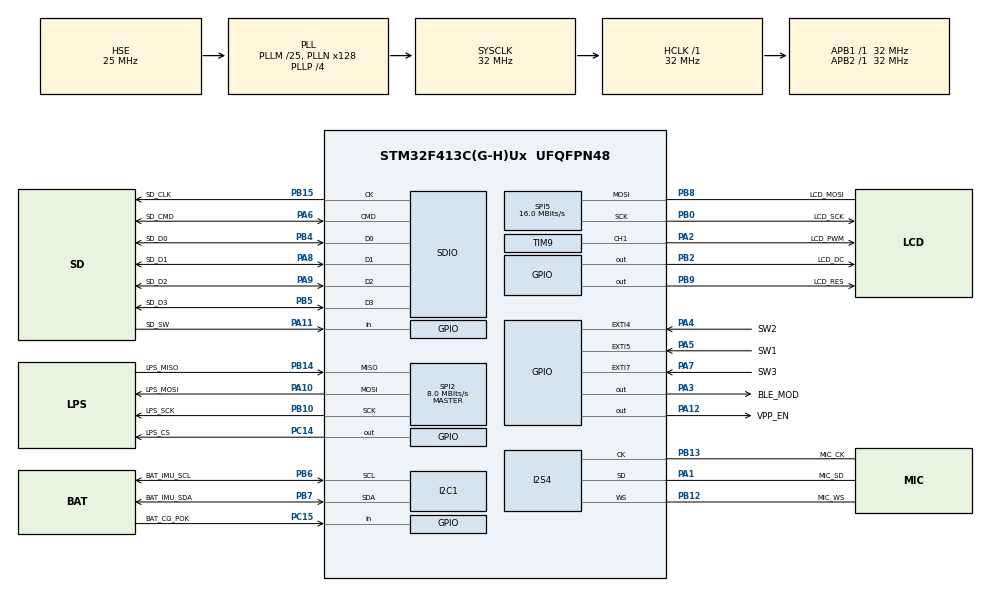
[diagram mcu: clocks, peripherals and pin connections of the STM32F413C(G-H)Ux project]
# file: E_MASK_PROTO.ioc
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Dma.Request0=SPI5_RX
Dma.Request1=SPI5_TX
Dma.Request2=SPI2_RX
Dma.Request3=SPI2_TX
Dma.Request4=SPI4_RX
Dma.Request5=SDIO_TX
Dma.Request6=SDIO_RX
Dma.SDIO_RX.6.Direction=DMA_PERIPH_TO_MEMORY
Dma.SDIO_RX.6.FIFOMode=DMA_FIFOMODE_ENABLE
Dma.SDIO_RX.6.FIFOThreshold=DMA_FIFO_THRESHOLD_FULL
Dma.SDIO_RX.6.Instance=DMA2_Stream3
Dma.SDIO_RX.6.MemBurst=DMA_MBURST_INC4
Dma.SDIO_RX.6.MemDataAlignment=DMA_MDATAALIGN_WORD
Dma.SDIO_RX.6.MemInc=DMA_MINC_ENABLE
Dma.SDIO_RX.6.Mode=DMA_PFCTRL
Dma.SDIO_RX.6.PeriphBurst=DMA_PBURST_INC4
Dma.SDIO_RX.6.PeriphDataAlignment=DMA_PDATAALIGN_WORD
Dma.SDIO_RX.6.PeriphInc=DMA_PINC_DISABLE
Dma.SDIO_RX.6.Priority=DMA_PRIORITY_VERY_HIGH
Dma.SDIO_TX.5.Direction=DMA_MEMORY_TO_PERIPH
Dma.SDIO_TX.5.FIFOMode=DMA_FIFOMODE_ENABLE
Dma.SDIO_TX.5.FIFOThreshold=DMA_FIFO_THRESHOLD_FULL
Dma.SDIO_TX.5.Instance=DMA2_Stream6
Dma.SDIO_TX.5.MemBurst=DMA_MBURST_INC4
Dma.SDIO_TX.5.MemDataAlignment=DMA_MDATAALIGN_WORD
Dma.SDIO_TX.5.MemInc=DMA_MINC_ENABLE
Dma.SDIO_TX.5.Mode=DMA_PFCTRL
Dma.SDIO_TX.5.PeriphBurst=DMA_PBURST_INC4
Dma.SDIO_TX.5.PeriphDataAlignment=DMA_PDATAALIGN_WORD
Dma.SDIO_TX.5.PeriphInc=DMA_PINC_DISABLE
Dma.SDIO_TX.5.Priority=DMA_PRIORITY_VERY_HIGH
Dma.SPI2_RX.2.Direction=DMA_PERIPH_TO_MEMORY
Dma.SPI2_RX.2.FIFOMode=DMA_FIFOMODE_DISABLE
Dma.SPI2_RX.2.Instance=DMA1_Stream3
Dma.SPI2_RX.2.MemDataAlignment=DMA_MDATAALIGN_BYTE
Dma.SPI2_RX.2.MemInc=DMA_MINC_ENABLE
Dma.SPI2_RX.2.Mode=DMA_NORMAL
Dma.SPI2_RX.2.PeriphDataAlignment=DMA_PDATAALIGN_BYTE
Dma.SPI2_RX.2.PeriphInc=DMA_PINC_DISABLE
Dma.SPI2_RX.2.Priority=DMA_PRIORITY_LOW
Dma.SPI2_TX.3.Direction=DMA_MEMORY_TO_PERIPH
Dma.SPI2_TX.3.FIFOMode=DMA_FIFOMODE_DISABLE
Dma.SPI2_TX.3.Instance=DMA1_Stream4
Dma.SPI2_TX.3.MemDataAlignment=DMA_MDATAALIGN_BYTE
Dma.SPI2_TX.3.MemInc=DMA_MINC_ENABLE
Dma.SPI2_TX.3.Mode=DMA_NORMAL
Dma.SPI2_TX.3.PeriphDataAlignment=DMA_PDATAALIGN_BYTE
Dma.SPI2_TX.3.PeriphInc=DMA_PINC_DISABLE
Dma.SPI2_TX.3.Priority=DMA_PRIORITY_LOW
Dma.SPI4_RX.4.Direction=DMA_PERIPH_TO_MEMORY
Dma.SPI4_RX.4.FIFOMode=DMA_FIFOMODE_DISABLE
Dma.SPI4_RX.4.Instance=DMA2_Stream0
Dma.SPI4_RX.4.MemDataAlignment=DMA_MDATAALIGN_HALFWORD
Dma.SPI4_RX.4.MemInc=DMA_MINC_ENABLE
Dma.SPI4_RX.4.Mode=DMA_CIRCULAR
Dma.SPI4_RX.4.PeriphDataAlignment=DMA_PDATAALIGN_HALFWORD
Dma.SPI4_RX.4.PeriphInc=DMA_PINC_DISABLE
Dma.SPI4_RX.4.Priority=DMA_PRIORITY_LOW
Dma.SPI5_RX.0.Direction=DMA_PERIPH_TO_MEMORY
Dma.SPI5_RX.0.FIFOMode=DMA_FIFOMODE_DISABLE
Dma.SPI5_RX.0.Instance=DMA2_Stream5
Dma.SPI5_RX.0.MemDataAlignment=DMA_MDATAALIGN_BYTE
Dma.SPI5_RX.0.MemInc=DMA_MINC_ENABLE
Dma.SPI5_RX.0.Mode=DMA_NORMAL
Dma.SPI5_RX.0.PeriphDataAlignment=DMA_PDATAALIGN_BYTE
Dma.SPI5_RX.0.PeriphInc=DMA_PINC_DISABLE
Dma.SPI5_RX.0.Priority=DMA_PRIORITY_LOW
Dma.SPI5_TX.1.Direction=DMA_MEMORY_TO_PERIPH
Dma.SPI5_TX.1.FIFOMode=DMA_FIFOMODE_DISABLE
Dma.SPI5_TX.1.Instance=DMA2_Stream4
Dma.SPI5_TX.1.MemDataAlignment=DMA_MDATAALIGN_BYTE
Dma.SPI5_TX.1.MemInc=DMA_MINC_ENABLE
Dma.SPI5_TX.1.Mode=DMA_NORMAL
Dma.SPI5_TX.1.PeriphDataAlignment=DMA_PDATAALIGN_BYTE
Dma.SPI5_TX.1.PeriphInc=DMA_PINC_DISABLE
Dma.SPI5_TX.1.Priority=DMA_PRIORITY_LOW
FATFS.BSP.number=1
FATFS.USE_DMA_CODE_SD=1
FATFS._FS_LOCK=5
FATFS._MAX_SS=4096
FATFS._USE_FIND=1
FATFS._USE_LFN=1
FATFS0.BSP.STBoard=false
FATFS0.BSP.api=Unknown
FATFS0.BSP.i2caddr=0
FATFS0.BSP.instance=PA11
FATFS0.BSP.ip=GPIO
FATFS0.BSP.mode=Input
FATFS0.BSP.name=Detect_SDIO
FATFS0.BSP.solution=PA11
I2C1.I2C_Mode=I2C_Fast
I2S4.AudioFreq=I2S_AUDIOFREQ_32K
I2S4.CPOL=I2S_CPOL_HIGH
I2S4.DataFormat=I2S_DATAFORMAT_16B_EXTENDED
I2S4.ErrorAudioFreq=0.8 %
I2S4.FullDuplexMode=I2S_FULLDUPLEXMODE_DISABLE
I2S4.Instance=SPI$Index
I2S4.Mode=I2S_MODE_MASTER_RX
I2S4.RealAudioFreq=32.258 KHz
I2S4.VirtualMode=I2S_MODE_MASTER
IWDG.Prescaler=IWDG_PRESCALER_64
Mcu.Family=STM32F4
Mcu.Name=STM32F413C(G-H)Ux
Mcu.Package=UFQFPN48
NVIC.DMA1_Stream3_IRQn=true\:0\:0\:false\:false\:true\:false\:true\:true
NVIC.DMA1_Stream4_IRQn=true\:0\:0\:false\:false\:true\:false\:true\:true
NVIC.DMA2_Stream0_IRQn=true\:0\:0\:false\:false\:true\:false\:true\:true
NVIC.DMA2_Stream3_IRQn=true\:0\:0\:false\:false\:true\:false\:true\:true
NVIC.DMA2_Stream4_IRQn=true\:0\:0\:false\:false\:true\:false\:true\:true
NVIC.DMA2_Stream5_IRQn=true\:0\:0\:false\:false\:true\:false\:true\:true
NVIC.DMA2_Stream6_IRQn=true\:0\:0\:false\:false\:true\:false\:true\:true
NVIC.EXTI4_IRQn=true\:0\:0\:false\:false\:true\:true\:true\:true
NVIC.EXTI9_5_IRQn=true\:0\:0\:false\:false\:true\:true\:true\:true
NVIC.PriorityGroup=NVIC_PRIORITYGROUP_4
NVIC.SDIO_IRQn=true\:0\:0\:false\:false\:true\:true\:true\:true
NVIC.SPI2_IRQn=true\:0\:0\:false\:false\:true\:true\:true\:true
NVIC.SPI5_IRQn=true\:0\:0\:false\:false\:true\:true\:true\:true
NVIC.TIM1_BRK_TIM9_IRQn=true\:0\:0\:false\:false\:true\:true\:true\:true
NVIC.TIM1_UP_TIM10_IRQn=true\:15\:0\:false\:false\:true\:false\:true\:true
NVIC.TIM6_DAC_IRQn=true\:0\:0\:false\:false\:true\:true\:true\:true
NVIC.TIM7_IRQn=true\:0\:0\:false\:false\:true\:true\:true\:true
NVIC.TimeBase=TIM1_UP_TIM10_IRQn
NVIC.TimeBaseIP=TIM1
PA0.Mode=SYS_WakeUp0
PA0.Signal=SYS_WKUP1
PA1.GPIO_Label=MIC_SD
PA1.GPIO_PuPd=GPIO_PULLUP
PA1.GPIO_Speed=GPIO_SPEED_FREQ_LOW
PA1.Mode=Half_Duplex_Master
PA1.Signal=I2S4_SD
PA10.GPIO_Label=LPS_MOSI
PA10.GPIO_PuPd=GPIO_PULLUP
PA10.Mode=Full_Duplex_Master
PA10.Signal=SPI2_MOSI
PA11.GPIO_Label=SD_SW
PA11.GPIO_PuPd=GPIO_PULLUP
PA11.Signal=GPIO_Input
PA12.GPIO_Label=VPP_EN
PA12.Signal=GPIO_Output
PA13.Mode=Serial_Wire
PA13.Signal=SYS_JTMS-SWDIO
PA14.Mode=Serial_Wire
PA14.Signal=SYS_JTCK-SWCLK
PA2.GPIO_Label=LCD_PWM
PA2.GPIO_PuPd=GPIO_PULLUP
PA2.Signal=S_TIM9_CH1
PA3.GPIO_Label=BLE_MOD
PA3.Signal=GPIO_Output
PA4.GPIO_Label=SW2
PA4.Signal=GPXTI4
PA5.GPIO_Label=SW1
PA5.Signal=GPXTI5
PA6.GPIO_Label=SD_CMD
PA6.GPIO_PuPd=GPIO_PULLUP
PA6.Mode=SD_4_bits_Wide_bus
PA6.Signal=SDIO_CMD
PA7.GPIO_Label=SW3
PA7.Signal=GPXTI7
PA8.GPIO_Label=SD_D1
PA8.GPIO_PuPd=GPIO_PULLUP
PA8.Mode=SD_4_bits_Wide_bus
PA8.Signal=SDIO_D1
PA9.GPIO_Label=SD_D2
PA9.GPIO_PuPd=GPIO_PULLUP
PA9.Mode=SD_4_bits_Wide_bus
PA9.Signal=SDIO_D2
PB0.GPIO_Label=LCD_SCK
PB0.GPIO_PuPd=GPIO_PULLUP
PB0.Mode=Simplex_Bidirectional_Master
PB0.Signal=SPI5_SCK
PB1.GPIO_Label=SP_PWM
PB1.Signal=S_TIM3_CH4
PB10.GPIO_Label=LPS_SCK
PB10.GPIO_PuPd=GPIO_PULLUP
PB10.Mode=Full_Duplex_Master
PB10.Signal=SPI2_SCK
PB12.GPIO_Label=MIC_WS
PB12.GPIO_PuPd=GPIO_PULLUP
PB12.GPIO_Speed=GPIO_SPEED_FREQ_LOW
PB12.Mode=Half_Duplex_Master
PB12.Signal=I2S4_WS
PB13.GPIO_Label=MIC_CK
PB13.GPIO_PuPd=GPIO_PULLUP
PB13.GPIO_Speed=GPIO_SPEED_FREQ_LOW
PB13.Mode=Half_Duplex_Master
PB13.Signal=I2S4_CK
PB14.GPIO_Label=LPS_MISO
PB14.GPIO_PuPd=GPIO_PULLUP
PB14.Mode=Full_Duplex_Master
PB14.Signal=SPI2_MISO
PB15.GPIO_Label=SD_CLK
PB15.GPIO_PuPd=GPIO_NOPULL
PB15.Mode=SD_4_bits_Wide_bus
PB15.Signal=SDIO_CK
PB2.GPIO_Label=LCD_DC
PB2.Signal=GPIO_Output
PB4.GPIO_Label=SD_D0
PB4.GPIO_PuPd=GPIO_PULLUP
PB4.Mode=SD_4_bits_Wide_bus
PB4.Signal=SDIO_D0
PB5.GPIO_Label=SD_D3
PB5.GPIO_PuPd=GPIO_PULLUP
PB5.Mode=SD_4_bits_Wide_bus
PB5.Signal=SDIO_D3
PB6.GPIO_Label=BAT_IMU_SCL
PB6.GPIO_Pu=GPIO_PULLUP
PB6.Mode=I2C
PB6.Signal=I2C1_SCL
PB7.GPIO_Label=BAT_IMU_SDA
PB7.GPIO_Pu=GPIO_PULLUP
PB7.Mode=I2C
PB7.Signal=I2C1_SDA
PB8.GPIO_Label=LCD_MOSI
PB8.GPIO_PuPd=GPIO_PULLUP
PB8.Mode=Simplex_Bidirectional_Master
PB8.Signal=SPI5_MOSI
PB9.GPIO_Label=LCD_RES
PB9.Signal=GPIO_Output
PC14-OSC32_IN.GPIO_Label=LPS_CS
PC14-OSC32_IN.GPIO_PuPd=GPIO_PULLUP
PC14-OSC32_IN.Signal=GPIO_Output
PC15-OSC32_OUT.GPIO_Label=BAT_CG_POK
PC15-OSC32_OUT.GPIO_PuPd=GPIO_PULLUP
PC15-OSC32_OUT.Signal=GPIO_Input
PH0\ -\ OSC_IN.Mode=HSE-External-Oscillator
PH0\ -\ OSC_IN.Signal=RCC_OSC_IN
PH1\ -\ OSC_OUT.Mode=HSE-External-Oscillator
PH1\ -\ OSC_OUT.Signal=RCC_OSC_OUT
ProjectManager.HeapSize=0x4000
ProjectManager.StackSize=0x8000
ProjectManager.TargetToolchain=MDK-ARM V5.32
RCC.AHBFreq_Value=32000000
RCC.APB1Freq_Value=32000000
RCC.APB1TimFreq_Value=32000000
RCC.APB2Freq_Value=32000000
RCC.APB2TimFreq_Value=32000000
RCC.CortexFreq_Value=32000000
RCC.HCLKFreq_Value=32000000
RCC.HSE_VALUE=25000000
RCC.I2S2CLockSelection=RCC_I2SAPB2CLKSOURCE_PLLR
RCC.PLLI2SM=8
RCC.PLLI2SN=50
RCC.PLLM=25
RCC.PLLN=128
RCC.PLLP=RCC_PLLP_DIV4
RCC.PLLQ=5
RCC.PLLSourceVirtual=RCC_PLLSOURCE_HSE
RCC.SDIOCLockSelection=RCC_SDIOCLKSOURCE_SYSCLK
RCC.SYSCLKFreq_VALUE=32000000
RCC.SYSCLKSource=RCC_SYSCLKSOURCE_PLLCLK
RCC.USBFreq_Value=25600000
RCC.VCOOutputFreq_Value=128000000
SDIO.ClockDiv=5
SH.S_TIM3_CH4.0=TIM3_CH4
SH.S_TIM9_CH1.0=TIM9_CH1,PWM Generation1 CH1
SPI2.BaudRatePrescaler=SPI_BAUDRATEPRESCALER_4
SPI2.CLKPhase=SPI_PHASE_2EDGE
SPI2.CLKPolarity=SPI_POLARITY_HIGH
SPI2.CalculateBaudRate=8.0 MBits/s
SPI2.Direction=SPI_DIRECTION_2LINES
SPI2.Mode=SPI_MODE_MASTER
SPI2.VirtualType=VM_MASTER
SPI5.BaudRatePrescaler=SPI_BAUDRATEPRESCALER_2
SPI5.CalculateBaudRate=16.0 MBits/s
SPI5.Direction=SPI_DIRECTION_1LINE
SPI5.Mode=SPI_MODE_MASTER
SPI5.VirtualType=VM_MASTER
TIM6.Period=200-1
TIM6.Prescaler=160-1
TIM7.Period=1000-1
TIM7.Prescaler=160-1
TIM9.Channel-PWM\ Generation1\ CH1=TIM_CHANNEL_1
TIM9.Period=1000-1
TIM9.Prescaler=32-1
VP_FATFS_VS_SDIO.Mode=SDIO
VP_IWDG_VS_IWDG.Mode=IWDG_Activate
VP_SYS_VS_tim1.Mode=TIM1
VP_TIM6_VS_ClockSourceINT.Mode=Enable_Timer
VP_TIM7_VS_ClockSourceINT.Mode=Enable_Timer
board=custom

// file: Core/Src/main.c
/* USER CODE BEGIN Header */
/**
  ******************************************************************************
  * @file           : main.c
  * @brief          : Main program body
  ******************************************************************************
  * @attention
  *
  * Copyright (c) 2023 STMicroelectronics.
  * All rights reserved.
  *
  * This software is licensed under terms that can be found in the LICENSE file
  * in the root directory of this software component.
  * If no LICENSE file comes with this software, it is provided AS-IS.
  *
  ******************************************************************************
  */
/* USER CODE END Header */
#include "main.h"
#include "fatfs.h"

/* USER CODE BEGIN Includes */
#include "LPS22HH.h"
#include "fifo.h"
#include "LSM6DS.h"
#include "lcdscreen.h"

/* USER CODE END Includes */

/* USER CODE BEGIN PD */

bool read_cnt = false;

/* USER CODE END PD */

 I2C_HandleTypeDef hi2c1;

I2S_HandleTypeDef hi2s4;
DMA_HandleTypeDef hdma_spi4_rx;

IWDG_HandleTypeDef hiwdg;

SD_HandleTypeDef hsd;
DMA_HandleTypeDef hdma_sdio_tx;
DMA_HandleTypeDef hdma_sdio_rx;

SPI_HandleTypeDef hspi2;
SPI_HandleTypeDef hspi5;
DMA_HandleTypeDef hdma_spi2_rx;
DMA_HandleTypeDef hdma_spi2_tx;
DMA_HandleTypeDef hdma_spi5_rx;
DMA_HandleTypeDef hdma_spi5_tx;

TIM_HandleTypeDef htim6;
TIM_HandleTypeDef htim7;
TIM_HandleTypeDef htim9;

/* USER CODE BEGIN PV */

// LPS
float dataPressure;
float dataTemperature;
float dataAltitude;
uintmax_t timeflag = 0;
bool left_btn = false;
bool ok_btn = false;
bool right_btn = false;
bool btn_flag = false;
bool save_flag = false;
uint8_t nowScreen = 0;

// MIC
uint8_t half_i2s, full_i2s;
int16_t sample_i2s;
int16_t audioBuffer[WAV_WRITE_SAMPLE_COUNT];

//IMU
LSM6DS_AccelSetting LSM6DSM_IMUSetting={
	1,					//accelEnabled
	50,				//accelBandWidth
	8,					//accelRange
	52,			//accelSampleRate
	1,					//gyroEnabled
	500,			//gyroRange
	52,			//gyroSampleRate
	1,					//tempEnabled
};
int16_t I2C_Polling_buffer[6] = {0};

/* USER CODE END PV */

void SystemClock_Config(void);
static void MX_GPIO_Init(void);
static void MX_DMA_Init(void);
static void MX_I2C1_Init(void);
static void MX_I2S4_Init(void);
static void MX_SDIO_SD_Init(void);
static void MX_SPI2_Init(void);
static void MX_SPI5_Init(void);
static void MX_TIM6_Init(void);
static void MX_TIM9_Init(void);
static void MX_IWDG_Init(void);
static void MX_TIM7_Init(void);
/* USER CODE BEGIN PFP */
void Set_StandbyMod(void);
void UF_speaker_ON(void);
void UF_speaker_OFF(void);
void HAL_GPIO_EXTI_Callback(uint16_t GPIO_Pin);
/* USER CODE END PFP */

int main(void)
{

  /* MCU Configuration--------------------------------------------------------*/

  /* Reset of all peripherals, Initializes the Flash interface and the Systick. */
  HAL_Init();

  /* Configure the system clock */
  SystemClock_Config();

  /* USER CODE BEGIN SysInit */
	MX_IWDG_Init();
	if(__HAL_RCC_GET_FLAG(RCC_FLAG_IWDGRST) == SET){
		Set_StandbyMod();
	}
  /* USER CODE END SysInit */

  /* Initialize all configured peripherals */
  MX_GPIO_Init();
  MX_DMA_Init();
  MX_I2C1_Init();
  MX_I2S4_Init();
  MX_SDIO_SD_Init();
  MX_SPI2_Init();
  MX_SPI5_Init();
  MX_TIM6_Init();
  MX_TIM9_Init();
  MX_FATFS_Init();
  MX_IWDG_Init();
  MX_TIM7_Init();
  /* USER CODE BEGIN 2 */

	// VPP EN
	HAL_GPIO_WritePin(VPP_EN_GPIO_Port,VPP_EN_Pin,GPIO_PIN_SET);
	if(!HAL_GPIO_ReadPin(BAT_CG_POK_GPIO_Port,BAT_CG_POK_Pin))
		Set_StandbyMod();
  HAL_Delay(100);
//	UF_speaker_ON();

	// WATCH dog
	__HAL_DBGMCU_FREEZE_IWDG();

	/* Battery Monitoring */
	MAX17262_init();

	/* SD Init */
	HAL_IWDG_Refresh(&hiwdg);
	if(sd_init()){
		Error_Handler();
	}

	// LCD init
	screen_init(&htim9);
	main_screen(false,false,false,0,0);

	/* LPS setup */
	LPS22HH_setup();

	// MIC init
	HAL_I2S_Receive_DMA(&hi2s4,(uint16_t *)audioBuffer,sizeof(audioBuffer)/2);

//	//IMU setup
//	LSM6DS_Reset();
//	LSM6DS_GetBeing_polling(&LSM6DSM_IMUSetting);	//자이로 가속도 센서 활성화

	// interrupt start
	HAL_TIM_Base_Start_IT(&htim6);
	HAL_TIM_Base_Start_IT(&htim7);
//	UF_speaker_OFF();
  /* USER CODE END 2 */

  /* Infinite loop */
  /* USER CODE BEGIN WHILE */
  while (1)
  {
		HAL_IWDG_Refresh(&hiwdg);

		if(nowScreen == 0){ // main screen
			if(timeflag % 100 == 0){ //0.1sec
				dataPressure = LPS22HH_readPressure();
				main_screen(left_btn,ok_btn,right_btn,(uint16_t)sample_i2s,dataPressure);
			}
			if(left_btn){
				nowScreen = 1;
				reset_screen();
			}
			else if(right_btn){
				Set_StandbyMod();
			}

		}else if (nowScreen == 1){ // menu screen
			if(timeflag % 100 == 0) // 0.1sec
				menu_screen(left_btn,ok_btn,right_btn,0);

			if(left_btn){
				nowScreen = 0;
				reset_screen();
			}else if(ok_btn){
				timeflag = 0;
				reset_screen();
				general_screen(false,false,false);
				nowScreen = 2;
				if(start_recording_i2s(hi2s4.Init.AudioFreq))
					Error_Handler();
				if(start_recording_lps())
					Error_Handler();
			}else if(right_btn){
				reset_screen();
				menu_screen(left_btn,ok_btn,right_btn,0);
			}
		}
		else if(nowScreen == 2){
			if(timeflag % 1000 == 0 && half_i2s == 0 && full_i2s == 0 && read_cnt == false)
				fifo_screen(left_btn,ok_btn,right_btn,timeflag,dataPressure);

			if(read_cnt){
				dataPressure = LPS22HH_readPressure();
				dataTemperature = LPS22HH_readTemperature();
				dataAltitude = LPS22HH_calAltitude(dataPressure,dataTemperature);
				fifo_lps(dataTemperature,dataPressure,dataAltitude,timeflag);

				read_cnt = false;
			}
			if(half_i2s == 1){
				fifo_i2s(((uint8_t *)audioBuffer), WAV_WRITE_SAMPLE_COUNT);
				half_i2s = 0;
			}
			if(full_i2s == 1){
				fifo_i2s((uint8_t *)audioBuffer + WAV_WRITE_SAMPLE_COUNT, WAV_WRITE_SAMPLE_COUNT);
				full_i2s = 0;
			}
			if(left_btn){
				stop_recording_i2s();
				stop_recording_lps();
				nowScreen = 0;
				reset_screen();
			}
			if(save_flag){ // 30min after
				stop_recording_i2s();
				stop_recording_lps();
				reset_screen();
				general_screen(false,false,false);
				save_flag = false;
				if(start_recording_lps())
					Error_Handler();
				if(start_recording_i2s(hi2s4.Init.AudioFreq))
					Error_Handler();
			}
		}
		btn_flag = false; left_btn = false; right_btn = false; ok_btn = false;

    /* USER CODE END WHILE */

  }
}

void SystemClock_Config(void)
{
  RCC_OscInitTypeDef RCC_OscInitStruct = {0};
  RCC_ClkInitTypeDef RCC_ClkInitStruct = {0};

  /** Configure the main internal regulator output voltage
  */
  __HAL_RCC_PWR_CLK_ENABLE();
  __HAL_PWR_VOLTAGESCALING_CONFIG(PWR_REGULATOR_VOLTAGE_SCALE1);

  /** Initializes the RCC Oscillators according to the specified parameters
  * in the RCC_OscInitTypeDef structure.
  */
  RCC_OscInitStruct.OscillatorType = RCC_OSCILLATORTYPE_LSI|RCC_OSCILLATORTYPE_HSE;
  RCC_OscInitStruct.HSEState = RCC_HSE_ON;
  RCC_OscInitStruct.LSIState = RCC_LSI_ON;
  RCC_OscInitStruct.PLL.PLLState = RCC_PLL_ON;
  RCC_OscInitStruct.PLL.PLLSource = RCC_PLLSOURCE_HSE;
  RCC_OscInitStruct.PLL.PLLM = 25;
  RCC_OscInitStruct.PLL.PLLN = 128;
  RCC_OscInitStruct.PLL.PLLP = RCC_PLLP_DIV4;
  RCC_OscInitStruct.PLL.PLLQ = 5;
  RCC_OscInitStruct.PLL.PLLR = 2;
  if (HAL_RCC_OscConfig(&RCC_OscInitStruct) != HAL_OK)
  {
    Error_Handler();
  }

  /** Initializes the CPU, AHB and APB buses clocks
  */
  RCC_ClkInitStruct.ClockType = RCC_CLOCKTYPE_HCLK|RCC_CLOCKTYPE_SYSCLK
                              |RCC_CLOCKTYPE_PCLK1|RCC_CLOCKTYPE_PCLK2;
  RCC_ClkInitStruct.SYSCLKSource = RCC_SYSCLKSOURCE_PLLCLK;
  RCC_ClkInitStruct.AHBCLKDivider = RCC_SYSCLK_DIV1;
  RCC_ClkInitStruct.APB1CLKDivider = RCC_HCLK_DIV1;
  RCC_ClkInitStruct.APB2CLKDivider = RCC_HCLK_DIV1;

  if (HAL_RCC_ClockConfig(&RCC_ClkInitStruct, FLASH_LATENCY_1) != HAL_OK)
  {
    Error_Handler();
  }
}

static void MX_I2C1_Init(void)
{

  hi2c1.Instance = I2C1;
  hi2c1.Init.ClockSpeed = 400000;
  hi2c1.Init.DutyCycle = I2C_DUTYCYCLE_2;
  hi2c1.Init.OwnAddress1 = 0;
  hi2c1.Init.AddressingMode = I2C_ADDRESSINGMODE_7BIT;
  hi2c1.Init.DualAddressMode = I2C_DUALADDRESS_DISABLE;
  hi2c1.Init.OwnAddress2 = 0;
  hi2c1.Init.GeneralCallMode = I2C_GENERALCALL_DISABLE;
  hi2c1.Init.NoStretchMode = I2C_NOSTRETCH_DISABLE;
  if (HAL_I2C_Init(&hi2c1) != HAL_OK)
  {
    Error_Handler();
  }

}

static void MX_I2S4_Init(void)
{

  hi2s4.Instance = SPI4;
  hi2s4.Init.Mode = I2S_MODE_MASTER_RX;
  hi2s4.Init.Standard = I2S_STANDARD_PHILIPS;
  hi2s4.Init.DataFormat = I2S_DATAFORMAT_16B_EXTENDED;
  hi2s4.Init.MCLKOutput = I2S_MCLKOUTPUT_DISABLE;
  hi2s4.Init.AudioFreq = I2S_AUDIOFREQ_32K;
  hi2s4.Init.CPOL = I2S_CPOL_HIGH;
  hi2s4.Init.ClockSource = I2S_CLOCK_PLLR;
  hi2s4.Init.FullDuplexMode = I2S_FULLDUPLEXMODE_DISABLE;
  if (HAL_I2S_Init(&hi2s4) != HAL_OK)
  {
    Error_Handler();
  }

}

static void MX_IWDG_Init(void)
{

  hiwdg.Instance = IWDG;
  hiwdg.Init.Prescaler = IWDG_PRESCALER_64;
  hiwdg.Init.Reload = 4095;
  if (HAL_IWDG_Init(&hiwdg) != HAL_OK)
  {
    Error_Handler();
  }

}

static void MX_SDIO_SD_Init(void)
{

  hsd.Instance = SDIO;
  hsd.Init.ClockEdge = SDIO_CLOCK_EDGE_RISING;
  hsd.Init.ClockBypass = SDIO_CLOCK_BYPASS_DISABLE;
  hsd.Init.ClockPowerSave = SDIO_CLOCK_POWER_SAVE_DISABLE;
  hsd.Init.BusWide = SDIO_BUS_WIDE_1B;
  hsd.Init.HardwareFlowControl = SDIO_HARDWARE_FLOW_CONTROL_DISABLE;
  hsd.Init.ClockDiv = 5;

}

static void MX_SPI2_Init(void)
{

  /* SPI2 parameter configuration*/
  hspi2.Instance = SPI2;
  hspi2.Init.Mode = SPI_MODE_MASTER;
  hspi2.Init.Direction = SPI_DIRECTION_2LINES;
  hspi2.Init.DataSize = SPI_DATASIZE_8BIT;
  hspi2.Init.CLKPolarity = SPI_POLARITY_HIGH;
  hspi2.Init.CLKPhase = SPI_PHASE_2EDGE;
  hspi2.Init.NSS = SPI_NSS_SOFT;
  hspi2.Init.BaudRatePrescaler = SPI_BAUDRATEPRESCALER_4;
  hspi2.Init.FirstBit = SPI_FIRSTBIT_MSB;
  hspi2.Init.TIMode = SPI_TIMODE_DISABLE;
  hspi2.Init.CRCCalculation = SPI_CRCCALCULATION_DISABLE;
  hspi2.Init.CRCPolynomial = 10;
  if (HAL_SPI_Init(&hspi2) != HAL_OK)
  {
    Error_Handler();
  }

}

static void MX_SPI5_Init(void)
{

  /* SPI5 parameter configuration*/
  hspi5.Instance = SPI5;
  hspi5.Init.Mode = SPI_MODE_MASTER;
  hspi5.Init.Direction = SPI_DIRECTION_1LINE;
  hspi5.Init.DataSize = SPI_DATASIZE_8BIT;
  hspi5.Init.CLKPolarity = SPI_POLARITY_LOW;
  hspi5.Init.CLKPhase = SPI_PHASE_1EDGE;
  hspi5.Init.NSS = SPI_NSS_SOFT;
  hspi5.Init.BaudRatePrescaler = SPI_BAUDRATEPRESCALER_2;
  hspi5.Init.FirstBit = SPI_FIRSTBIT_MSB;
  hspi5.Init.TIMode = SPI_TIMODE_DISABLE;
  hspi5.Init.CRCCalculation = SPI_CRCCALCULATION_DISABLE;
  hspi5.Init.CRCPolynomial = 10;
  if (HAL_SPI_Init(&hspi5) != HAL_OK)
  {
    Error_Handler();
  }

}

static void MX_TIM6_Init(void)
{

  TIM_MasterConfigTypeDef sMasterConfig = {0};

  htim6.Instance = TIM6;
  htim6.Init.Prescaler = 160-1;
  htim6.Init.CounterMode = TIM_COUNTERMODE_UP;
  htim6.Init.Period = 200-1;
  htim6.Init.AutoReloadPreload = TIM_AUTORELOAD_PRELOAD_DISABLE;
  if (HAL_TIM_Base_Init(&htim6) != HAL_OK)
  {
    Error_Handler();
  }
  sMasterConfig.MasterOutputTrigger = TIM_TRGO_RESET;
  sMasterConfig.MasterSlaveMode = TIM_MASTERSLAVEMODE_DISABLE;
  if (HAL_TIMEx_MasterConfigSynchronization(&htim6, &sMasterConfig) != HAL_OK)
  {
    Error_Handler();
  }

}

static void MX_TIM7_Init(void)
{

  TIM_MasterConfigTypeDef sMasterConfig = {0};

  htim7.Instance = TIM7;
  htim7.Init.Prescaler = 160-1;
  htim7.Init.CounterMode = TIM_COUNTERMODE_UP;
  htim7.Init.Period = 1000-1;
  htim7.Init.AutoReloadPreload = TIM_AUTORELOAD_PRELOAD_DISABLE;
  if (HAL_TIM_Base_Init(&htim7) != HAL_OK)
  {
    Error_Handler();
  }
  sMasterConfig.MasterOutputTrigger = TIM_TRGO_RESET;
  sMasterConfig.MasterSlaveMode = TIM_MASTERSLAVEMODE_DISABLE;
  if (HAL_TIMEx_MasterConfigSynchronization(&htim7, &sMasterConfig) != HAL_OK)
  {
    Error_Handler();
  }

}

static void MX_TIM9_Init(void)
{

  TIM_OC_InitTypeDef sConfigOC = {0};

  htim9.Instance = TIM9;
  htim9.Init.Prescaler = 32-1;
  htim9.Init.CounterMode = TIM_COUNTERMODE_UP;
  htim9.Init.Period = 1000-1;
  htim9.Init.ClockDivision = TIM_CLOCKDIVISION_DIV1;
  htim9.Init.AutoReloadPreload = TIM_AUTORELOAD_PRELOAD_DISABLE;
  if (HAL_TIM_PWM_Init(&htim9) != HAL_OK)
  {
    Error_Handler();
  }
  sConfigOC.OCMode = TIM_OCMODE_PWM1;
  sConfigOC.Pulse = 0;
  sConfigOC.OCPolarity = TIM_OCPOLARITY_HIGH;
  sConfigOC.OCFastMode = TIM_OCFAST_DISABLE;
  if (HAL_TIM_PWM_ConfigChannel(&htim9, &sConfigOC, TIM_CHANNEL_1) != HAL_OK)
  {
    Error_Handler();
  }
  HAL_TIM_MspPostInit(&htim9);

}

static void MX_DMA_Init(void)
{

  /* DMA controller clock enable */
  __HAL_RCC_DMA2_CLK_ENABLE();
  __HAL_RCC_DMA1_CLK_ENABLE();

  /* DMA interrupt init */
  /* DMA1_Stream3_IRQn interrupt configuration */
  HAL_NVIC_SetPriority(DMA1_Stream3_IRQn, 0, 0);
  HAL_NVIC_EnableIRQ(DMA1_Stream3_IRQn);
  /* DMA1_Stream4_IRQn interrupt configuration */
  HAL_NVIC_SetPriority(DMA1_Stream4_IRQn, 0, 0);
  HAL_NVIC_EnableIRQ(DMA1_Stream4_IRQn);
  /* DMA2_Stream0_IRQn interrupt configuration */
  HAL_NVIC_SetPriority(DMA2_Stream0_IRQn, 0, 0);
  HAL_NVIC_EnableIRQ(DMA2_Stream0_IRQn);
  /* DMA2_Stream3_IRQn interrupt configuration */
  HAL_NVIC_SetPriority(DMA2_Stream3_IRQn, 0, 0);
  HAL_NVIC_EnableIRQ(DMA2_Stream3_IRQn);
  /* DMA2_Stream4_IRQn interrupt configuration */
  HAL_NVIC_SetPriority(DMA2_Stream4_IRQn, 0, 0);
  HAL_NVIC_EnableIRQ(DMA2_Stream4_IRQn);
  /* DMA2_Stream5_IRQn interrupt configuration */
  HAL_NVIC_SetPriority(DMA2_Stream5_IRQn, 0, 0);
  HAL_NVIC_EnableIRQ(DMA2_Stream5_IRQn);
  /* DMA2_Stream6_IRQn interrupt configuration */
  HAL_NVIC_SetPriority(DMA2_Stream6_IRQn, 0, 0);
  HAL_NVIC_EnableIRQ(DMA2_Stream6_IRQn);

}

static void MX_GPIO_Init(void)
{
  GPIO_InitTypeDef GPIO_InitStruct = {0};

  /* GPIO Ports Clock Enable */
  __HAL_RCC_GPIOC_CLK_ENABLE();
  __HAL_RCC_GPIOH_CLK_ENABLE();
  __HAL_RCC_GPIOA_CLK_ENABLE();
  __HAL_RCC_GPIOB_CLK_ENABLE();

  /*Configure GPIO pin Output Level */
  HAL_GPIO_WritePin(LPS_CS_GPIO_Port, LPS_CS_Pin, GPIO_PIN_RESET);

  /*Configure GPIO pin Output Level */
  HAL_GPIO_WritePin(GPIOA, BLE_MOD_Pin|VPP_EN_Pin, GPIO_PIN_RESET);

  /*Configure GPIO pin Output Level */
  HAL_GPIO_WritePin(GPIOB, LCD_DC_Pin|LCD_RES_Pin, GPIO_PIN_RESET);

  /*Configure GPIO pin : LPS_CS_Pin */
  GPIO_InitStruct.Pin = LPS_CS_Pin;
  GPIO_InitStruct.Mode = GPIO_MODE_OUTPUT_PP;
  GPIO_InitStruct.Pull = GPIO_PULLUP;
  GPIO_InitStruct.Speed = GPIO_SPEED_FREQ_LOW;
  HAL_GPIO_Init(LPS_CS_GPIO_Port, &GPIO_InitStruct);

  /*Configure GPIO pin : BAT_CG_POK_Pin */
  GPIO_InitStruct.Pin = BAT_CG_POK_Pin;
  GPIO_InitStruct.Mode = GPIO_MODE_INPUT;
  GPIO_InitStruct.Pull = GPIO_PULLUP;
  HAL_GPIO_Init(BAT_CG_POK_GPIO_Port, &GPIO_InitStruct);

  /*Configure GPIO pins : BLE_MOD_Pin VPP_EN_Pin */
  GPIO_InitStruct.Pin = BLE_MOD_Pin|VPP_EN_Pin;
  GPIO_InitStruct.Mode = GPIO_MODE_OUTPUT_PP;
  GPIO_InitStruct.Pull = GPIO_NOPULL;
  GPIO_InitStruct.Speed = GPIO_SPEED_FREQ_LOW;
  HAL_GPIO_Init(GPIOA, &GPIO_InitStruct);

  /*Configure GPIO pins : SW2_Pin SW1_Pin SW3_Pin */
  GPIO_InitStruct.Pin = SW2_Pin|SW1_Pin|SW3_Pin;
  GPIO_InitStruct.Mode = GPIO_MODE_IT_RISING;
  GPIO_InitStruct.Pull = GPIO_NOPULL;
  HAL_GPIO_Init(GPIOA, &GPIO_InitStruct);

  /*Configure GPIO pin : SP_PWM_Pin */
  GPIO_InitStruct.Pin = SP_PWM_Pin;
  GPIO_InitStruct.Mode = GPIO_MODE_AF_PP;
  GPIO_InitStruct.Pull = GPIO_NOPULL;
  GPIO_InitStruct.Speed = GPIO_SPEED_FREQ_LOW;
  GPIO_InitStruct.Alternate = GPIO_AF2_TIM3;
  HAL_GPIO_Init(SP_PWM_GPIO_Port, &GPIO_InitStruct);

  /*Configure GPIO pins : LCD_DC_Pin LCD_RES_Pin */
  GPIO_InitStruct.Pin = LCD_DC_Pin|LCD_RES_Pin;
  GPIO_InitStruct.Mode = GPIO_MODE_OUTPUT_PP;
  GPIO_InitStruct.Pull = GPIO_NOPULL;
  GPIO_InitStruct.Speed = GPIO_SPEED_FREQ_LOW;
  HAL_GPIO_Init(GPIOB, &GPIO_InitStruct);

  /*Configure GPIO pin : SD_SW_Pin */
  GPIO_InitStruct.Pin = SD_SW_Pin;
  GPIO_InitStruct.Mode = GPIO_MODE_INPUT;
  GPIO_InitStruct.Pull = GPIO_PULLUP;
  HAL_GPIO_Init(SD_SW_GPIO_Port, &GPIO_InitStruct);

  /* EXTI interrupt init*/
  HAL_NVIC_SetPriority(EXTI4_IRQn, 0, 0);
  HAL_NVIC_EnableIRQ(EXTI4_IRQn);

  HAL_NVIC_SetPriority(EXTI9_5_IRQn, 0, 0);
  HAL_NVIC_EnableIRQ(EXTI9_5_IRQn);

}

/* USER CODE BEGIN 4 */

void Set_StandbyMod(void) {
	// turn off the watch
	while(HAL_GPIO_ReadPin(SW2_GPIO_Port, SW2_Pin));
	HAL_Delay(1000);
//	HAL_GPIO_WritePin(BLE_MOD_GPIO_Port, BLE_MOD_Pin, GPIO_PIN_RESET);
//  printf("AT+SLEEP");
//
//  HAL_GPIO_WritePin(BLE_TX_GPIO_Port, BLE_TX_Pin, GPIO_PIN_RESET);
//  HAL_GPIO_WritePin(BLE_RX_GPIO_Port, BLE_RX_Pin, GPIO_PIN_RESET);

	HAL_IWDG_Refresh(&hiwdg);

	//사용 된 모든 웨이크 업 소스를 비활성화
	HAL_PWR_DisableWakeUpPin(PWR_WAKEUP_PIN1);

	// ALL FLAG RESET
  __HAL_PWR_CLEAR_FLAG(PWR_FLAG_WU);

	//사용 된 모든 웨이크 업 소스를 다시 사용 가능하게 설정
	HAL_PWR_EnableWakeUpPin(PWR_WAKEUP_PIN1);

	if (HAL_IWDG_Init(&hiwdg) != HAL_OK)
	{
		Error_Handler();
	}
	__HAL_RCC_CLEAR_RESET_FLAGS();

	HAL_GPIO_WritePin(VPP_EN_GPIO_Port,VPP_EN_Pin,GPIO_PIN_RESET);

	//스탠바이모드 진입
	HAL_PWR_EnterSTANDBYMode();
}

void UF_speaker_ON(void) {
//	// speaker sound on
//	HAL_TIM_PWM_Start(&htim3, TIM_CHANNEL_4);
	TIM3->ARR=250;
	//TIM2->CCR2=(int)(325/2);
	TIM3->CCR4=(int)(200/2);
}

void UF_speaker_OFF(void) {
	// speaker sound off
	TIM3->CCR4=0;
//	HAL_TIM_PWM_Stop(&htim3, TIM_CHANNEL_4);
}

void HAL_GPIO_EXTI_Callback(uint16_t GPIO_Pin)
{
	if (GPIO_Pin == GPIO_PIN_5)
	{
		left_btn = true;
	}

	else if (GPIO_Pin == GPIO_PIN_4)
	{
		ok_btn = true;
	}

	else if (GPIO_Pin == GPIO_PIN_7)
	{
		right_btn = true;
	}
	btn_flag = true;
}

void HAL_I2S_RxCpltCallback(I2S_HandleTypeDef *hi2s)
{
	full_i2s = 1;
}

void HAL_I2S_RxHalfCpltCallback(I2S_HandleTypeDef *hi2s)
{
	sample_i2s = audioBuffer[0];
	half_i2s = 1;
}

/* USER CODE END 4 */

void HAL_TIM_PeriodElapsedCallback(TIM_HandleTypeDef *htim)
{
  /* USER CODE BEGIN Callback 0 */

	if (htim->Instance == TIM6){ // 1000hz
		timeflag++;
		if(timeflag % 600000 == 0){
			save_flag = true;
		}
	}

	if (htim->Instance == TIM7){ // 200hz
		read_cnt = true;
	}

  /* USER CODE END Callback 0 */
  if (htim->Instance == TIM1) {
    HAL_IncTick();
  }
}

void Error_Handler(void)
{
  __disable_irq();
  while (1)
  {
  }
}
